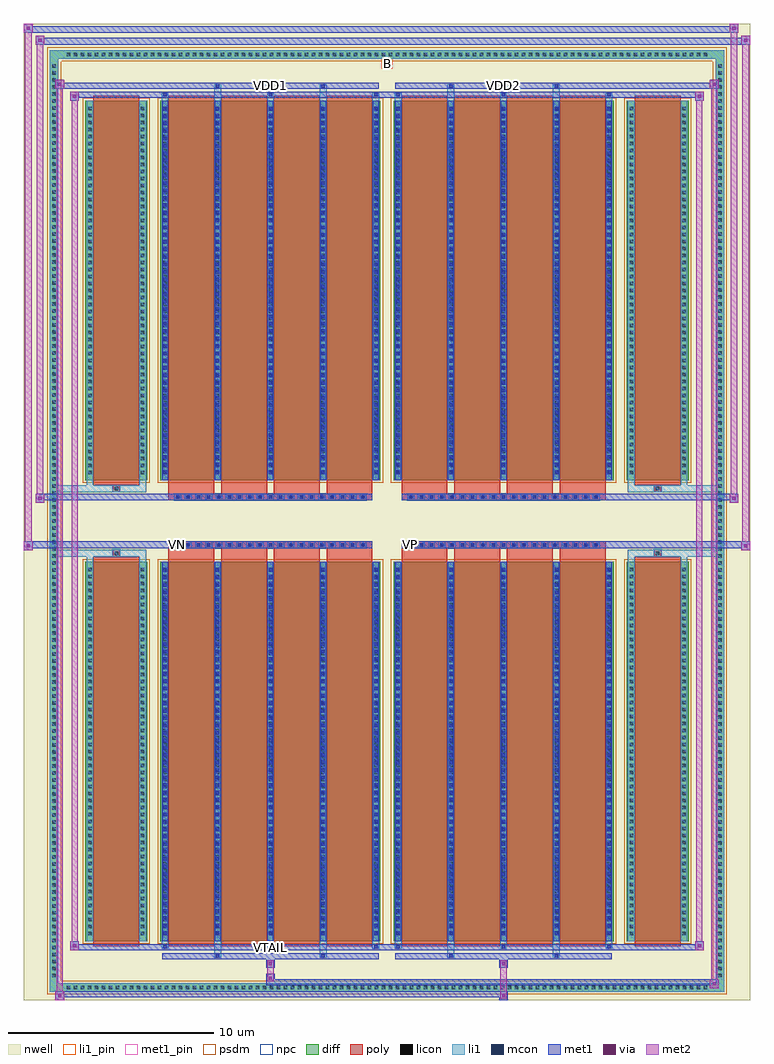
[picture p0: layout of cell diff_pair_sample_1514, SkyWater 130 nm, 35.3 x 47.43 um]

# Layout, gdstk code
import gdstk
lib = gdstk.Library(unit=1e-6, precision=5e-09)
def R(c, l, rs):  # rectangles x0, y0, x1, y1
    for r in rs: c.add(gdstk.rectangle(r[:2], r[2:], *l))
def A(c, l, x, y, w, h, nx, ny, dx, dy):  # array of equal rectangles
    R(c, l, [(x+i*dx, y+j*dy, x+i*dx+w, y+j*dy+h) for i in range(nx) for j in range(ny)])
def P(c, l, *ps):  # polygons
    for p in ps: c.add(gdstk.Polygon(p, *l))
nwell = (64, 20)
diff = (65, 20)
poly = (66, 20)
licon = (66, 44)
li1_pin = (67, 16)
li1 = (67, 20)
mcon = (67, 44)
met1_pin = (68, 16)
met1 = (68, 20)
via = (68, 44)
met2 = (69, 20)
psdm = (94, 20)
npc = (95, 20)

diff_pair_sample_1514 = lib.new_cell('diff_pair_sample_1514')
R(diff_pair_sample_1514, nwell, [(-17.65,-23.28,17.65,24.15), (-14.97,-21.47,-0.01,-0.795), (0.01,-21.47,14.97,-0.795), (-14.97,0.795,-0.01,21.47), (0.01,0.795,14.97,21.47)])
A(diff_pair_sample_1514, diff, -15.675, -22.88, 0.41, 0.41, 92, 2, 0.34, 45.35)
A(diff_pair_sample_1514, diff, -16.38, -22.305, 0.41, 0.41, 1, 131, 0, 0.34)
A(diff_pair_sample_1514, diff, 15.97, -22.305, 0.41, 0.41, 1, 131, 0, 0.34)
R(diff_pair_sample_1514, diff, [(-15.675,-22.88,15.675,-22.47), (-16.38,-22.305,-15.97,22.305), (15.97,-22.305,16.38,22.305), (-14.66,-20.425,-11.65,-1.985), (-11.01,-20.425,-0.32,-1.985), (0.32,-20.425,11.01,-1.985), (11.65,-20.425,14.66,-1.985), (-14.66,1.985,-11.65,20.425), (-11.01,1.985,-0.32,20.425), (0.32,1.985,11.01,20.425), (11.65,1.985,14.66,20.425), (-15.675,22.47,15.675,22.88)])
P(diff_pair_sample_1514, diff, [(16.38,22.88),(-16.38,22.88),(-16.38,-22.47),(-15.97,-22.47),(-15.97,22.47),(15.97,22.47),(15.97,-22.47),(-15.97,-22.47),(-16.38,-22.47),(-16.38,-22.88),(16.38,-22.88)])
A(diff_pair_sample_1514, poly, -10.62, -20.675, 2.23, 18.94, 4, 2, 2.56, 22.41)
A(diff_pair_sample_1514, poly, 0.71, -20.675, 2.23, 18.94, 4, 2, 2.56, 22.41)
A(diff_pair_sample_1514, poly, -10.62, -1.735, 2.23, 0.41, 4, 2, 2.56, 3.06)
A(diff_pair_sample_1514, poly, 0.71, -1.735, 2.23, 0.41, 4, 2, 2.56, 3.06)
A(diff_pair_sample_1514, poly, -10.33, -1.325, 0.33, 0.33, 19, 2, 0.5, 2.32)
A(diff_pair_sample_1514, poly, 1, -1.325, 0.33, 0.33, 19, 2, 0.5, 2.32)
R(diff_pair_sample_1514, poly, [(-14.27,-20.675,-12.04,-1.735), (12.04,-20.675,14.27,-1.735), (-13.32,-1.735,-12.99,-1.405), (-13.32,-1.735,-12.99,-1.405), (12.99,-1.735,13.32,-1.405), (12.99,-1.735,13.32,-1.405), (-10.62,-1.325,-0.71,-0.995), (0.71,-1.325,10.62,-0.995), (-10.62,0.995,-0.71,1.325), (0.71,0.995,10.62,1.325), (-13.32,1.405,-12.99,1.735), (-13.32,1.405,-12.99,1.735), (12.99,1.405,13.32,1.735), (12.99,1.405,13.32,1.735), (-14.27,1.735,-12.04,20.675), (12.04,1.735,14.27,20.675)])
A(diff_pair_sample_1514, licon, -15.555, -22.76, 0.17, 0.17, 92, 2, 0.34, 45.35)
A(diff_pair_sample_1514, licon, -16.26, -22.185, 0.17, 0.17, 1, 131, 0, 0.34)
A(diff_pair_sample_1514, licon, 16.09, -22.185, 0.17, 0.17, 1, 131, 0, 0.34)
A(diff_pair_sample_1514, licon, -14.52, -20.13, 0.17, 0.17, 1, 53, 0, 0.34)
A(diff_pair_sample_1514, licon, -11.96, -20.13, 0.17, 0.17, 1, 53, 0, 0.34)
A(diff_pair_sample_1514, licon, -10.87, -20.13, 0.17, 0.17, 5, 53, 2.56, 0.34)
A(diff_pair_sample_1514, licon, 0.46, -20.13, 0.17, 0.17, 5, 53, 2.56, 0.34)
A(diff_pair_sample_1514, licon, 11.79, -20.13, 0.17, 0.17, 1, 53, 0, 0.34)
A(diff_pair_sample_1514, licon, 14.35, -20.13, 0.17, 0.17, 1, 53, 0, 0.34)
A(diff_pair_sample_1514, licon, -10.25, -1.245, 0.17, 0.17, 19, 2, 0.5, 2.32)
A(diff_pair_sample_1514, licon, 1.08, -1.245, 0.17, 0.17, 19, 2, 0.5, 2.32)
A(diff_pair_sample_1514, licon, -14.52, 2.28, 0.17, 0.17, 1, 53, 0, 0.34)
A(diff_pair_sample_1514, licon, -11.96, 2.28, 0.17, 0.17, 1, 53, 0, 0.34)
A(diff_pair_sample_1514, licon, -10.87, 2.28, 0.17, 0.17, 5, 53, 2.56, 0.34)
A(diff_pair_sample_1514, licon, 0.46, 2.28, 0.17, 0.17, 5, 53, 2.56, 0.34)
A(diff_pair_sample_1514, licon, 11.79, 2.28, 0.17, 0.17, 1, 53, 0, 0.34)
A(diff_pair_sample_1514, licon, 14.35, 2.28, 0.17, 0.17, 1, 53, 0, 0.34)
R(diff_pair_sample_1514, licon, [(-13.24,-1.655,-13.07,-1.485), (13.07,-1.655,13.24,-1.485), (-13.24,1.485,-13.07,1.655), (13.07,1.485,13.24,1.655)])
R(diff_pair_sample_1514, li1_pin, [(-0.25,21.97,0.25,22.47)])
A(diff_pair_sample_1514, li1, -15.635, -22.84, 0.33, 0.33, 92, 2, 0.34, 45.35)
A(diff_pair_sample_1514, li1, -16.34, -22.265, 0.33, 0.33, 1, 131, 0, 0.34)
A(diff_pair_sample_1514, li1, 16.01, -22.265, 0.33, 0.33, 1, 131, 0, 0.34)
A(diff_pair_sample_1514, li1, -10.95, -20.8, 0.33, 0.375, 3, 2, 5.12, 41.225)
A(diff_pair_sample_1514, li1, -10.87, -20.8, 0.17, 0.17, 3, 2, 5.12, 41.43)
A(diff_pair_sample_1514, li1, 0.38, -20.8, 0.33, 0.375, 3, 2, 5.12, 41.225)
A(diff_pair_sample_1514, li1, 0.46, -20.8, 0.17, 0.17, 3, 2, 5.12, 41.43)
A(diff_pair_sample_1514, li1, -10.95, -20.425, 0.33, 18.44, 5, 2, 2.56, 22.41)
A(diff_pair_sample_1514, li1, 0.38, -20.425, 0.33, 18.44, 5, 2, 2.56, 22.41)
A(diff_pair_sample_1514, li1, -14.6, -20.21, 0.33, 0.33, 1, 53, 0, 0.34)
A(diff_pair_sample_1514, li1, -12.04, -20.21, 0.33, 0.33, 1, 53, 0, 0.34)
A(diff_pair_sample_1514, li1, -10.95, -20.21, 0.33, 0.33, 5, 53, 2.56, 0.34)
A(diff_pair_sample_1514, li1, 0.38, -20.21, 0.33, 0.33, 5, 53, 2.56, 0.34)
A(diff_pair_sample_1514, li1, 11.71, -20.21, 0.33, 0.33, 1, 53, 0, 0.34)
A(diff_pair_sample_1514, li1, 14.27, -20.21, 0.33, 0.33, 1, 53, 0, 0.34)
A(diff_pair_sample_1514, li1, -10.87, -20.11, 0.17, 0.17, 5, 50, 2.56, 0.36)
A(diff_pair_sample_1514, li1, -10.87, -20.11, 0.17, 17.81, 5, 2, 2.56, 22.41)
A(diff_pair_sample_1514, li1, 0.46, -20.11, 0.17, 0.17, 5, 50, 2.56, 0.36)
A(diff_pair_sample_1514, li1, 0.46, -20.11, 0.17, 17.81, 5, 2, 2.56, 22.41)
A(diff_pair_sample_1514, li1, -10.33, -1.325, 0.33, 0.33, 19, 2, 0.5, 2.32)
A(diff_pair_sample_1514, li1, 1, -1.325, 0.33, 0.33, 19, 2, 0.5, 2.32)
A(diff_pair_sample_1514, li1, -14.6, 2.2, 0.33, 0.33, 1, 53, 0, 0.34)
A(diff_pair_sample_1514, li1, -12.04, 2.2, 0.33, 0.33, 1, 53, 0, 0.34)
A(diff_pair_sample_1514, li1, -10.95, 2.2, 0.33, 0.33, 5, 53, 2.56, 0.34)
A(diff_pair_sample_1514, li1, 0.38, 2.2, 0.33, 0.33, 5, 53, 2.56, 0.34)
A(diff_pair_sample_1514, li1, 11.71, 2.2, 0.33, 0.33, 1, 53, 0, 0.34)
A(diff_pair_sample_1514, li1, 14.27, 2.2, 0.33, 0.33, 1, 53, 0, 0.34)
A(diff_pair_sample_1514, li1, -10.87, 2.3, 0.17, 0.17, 5, 50, 2.56, 0.36)
A(diff_pair_sample_1514, li1, 0.46, 2.3, 0.17, 0.17, 5, 50, 2.56, 0.36)
R(diff_pair_sample_1514, li1, [(-16.38,-22.88,-15.97,-22.47), (-16.38,-22.88,-15.97,-22.47), (-15.97,-22.88,15.97,-22.47), (15.97,-22.88,16.38,-22.47), (15.97,-22.88,16.38,-22.47), (-16.38,-22.47,-15.97,22.47), (15.97,-22.47,16.38,22.47), (-8.39,-21.23,-8.06,-20.425), (-8.31,-21.23,-8.14,-21.06), (-3.27,-21.23,-2.94,-20.425), (-3.19,-21.23,-3.02,-21.06), (2.94,-21.23,3.27,-20.425), (3.02,-21.23,3.19,-21.06), (8.06,-21.23,8.39,-20.425), (8.14,-21.23,8.31,-21.06), (-14.6,-20.425,-14.27,-1.985), (-12.04,-20.425,-11.71,-1.985), (11.71,-20.425,12.04,-1.985), (14.27,-20.425,14.6,-1.985), (-14.6,-1.985,-14.27,-1.405), (-12.04,-1.985,-11.71,-1.405), (11.71,-1.985,12.04,-1.405), (14.27,-1.985,14.6,-1.405), (-16.38,-1.735,-13.32,-1.405), (-14.6,-1.735,-13.32,-1.405), (-13.32,-1.735,-12.99,-1.405), (-12.99,-1.735,-11.71,-1.405), (11.71,-1.735,12.99,-1.405), (12.99,-1.735,13.32,-1.405), (12.99,-1.735,16.38,-1.405), (13.32,-1.735,14.6,-1.405), (-16.38,1.405,-13.32,1.735), (-14.6,1.405,-13.32,1.735), (-14.6,1.405,-14.27,1.985), (-13.32,1.405,-12.99,1.735), (-12.99,1.405,-11.71,1.735), (-12.04,1.405,-11.71,1.985), (11.71,1.405,12.99,1.735), (11.71,1.405,12.04,1.985), (12.99,1.405,13.32,1.735), (12.99,1.405,16.38,1.735), (13.32,1.405,14.6,1.735), (14.27,1.405,14.6,1.985), (-14.6,1.985,-14.27,20.425), (-12.04,1.985,-11.71,20.425), (11.71,1.985,12.04,20.425), (14.27,1.985,14.6,20.425), (-8.39,20.425,-8.06,21.23), (-3.27,20.425,-2.94,21.23), (2.94,20.425,3.27,21.23), (8.06,20.425,8.39,21.23), (-8.31,21.06,-8.14,21.23), (-3.19,21.06,-3.02,21.23), (3.02,21.06,3.19,21.23), (8.14,21.06,8.31,21.23), (-16.38,22.47,-15.97,22.88), (-16.38,22.47,-15.97,22.88), (-15.97,22.47,15.97,22.88), (15.97,22.47,16.38,22.88), (15.97,22.47,16.38,22.88)])
A(diff_pair_sample_1514, mcon, -10.87, -20.8, 0.17, 0.17, 3, 2, 5.12, 41.43)
A(diff_pair_sample_1514, mcon, 0.46, -20.8, 0.17, 0.17, 3, 2, 5.12, 41.43)
A(diff_pair_sample_1514, mcon, -10.87, -20.11, 0.17, 0.17, 5, 50, 2.56, 0.36)
A(diff_pair_sample_1514, mcon, 0.46, -20.11, 0.17, 0.17, 5, 50, 2.56, 0.36)
A(diff_pair_sample_1514, mcon, -10.25, -1.245, 0.17, 0.17, 19, 2, 0.5, 2.32)
A(diff_pair_sample_1514, mcon, 1.08, -1.245, 0.17, 0.17, 19, 2, 0.5, 2.32)
A(diff_pair_sample_1514, mcon, -10.87, 2.3, 0.17, 0.17, 5, 50, 2.56, 0.36)
A(diff_pair_sample_1514, mcon, 0.46, 2.3, 0.17, 0.17, 5, 50, 2.56, 0.36)
R(diff_pair_sample_1514, mcon, [(-8.31,-21.23,-8.14,-21.06), (-3.19,-21.23,-3.02,-21.06), (3.02,-21.23,3.19,-21.06), (8.14,-21.23,8.31,-21.06), (-8.31,21.06,-8.14,21.23), (-3.19,21.06,-3.02,21.23), (3.02,21.06,3.19,21.23), (8.14,21.06,8.31,21.23)])
R(diff_pair_sample_1514, met1_pin, [(-5.8,-20.84,-5.53,-20.57), (-10.3,-1.285,-10.03,-1.015), (1.03,-1.285,1.3,-1.015), (-5.8,21.02,-5.53,21.29), (5.53,21.02,5.8,21.29)])
A(diff_pair_sample_1514, met1, -10.93, -20.86, 0.29, 0.29, 3, 2, 5.12, 41.43)
A(diff_pair_sample_1514, met1, 0.4, -20.86, 0.29, 0.29, 3, 2, 5.12, 41.43)
A(diff_pair_sample_1514, met1, -10.93, -20.425, 0.29, 18.44, 5, 2, 2.56, 22.41)
A(diff_pair_sample_1514, met1, 0.4, -20.425, 0.29, 18.44, 5, 2, 2.56, 22.41)
A(diff_pair_sample_1514, met1, -10.93, -20.17, 0.29, 0.29, 5, 50, 2.56, 0.36)
A(diff_pair_sample_1514, met1, 0.4, -20.17, 0.29, 0.29, 5, 50, 2.56, 0.36)
A(diff_pair_sample_1514, met1, -10.31, -1.305, 0.29, 0.29, 19, 2, 0.5, 2.32)
A(diff_pair_sample_1514, met1, 1.02, -1.305, 0.29, 0.29, 19, 2, 0.5, 2.32)
A(diff_pair_sample_1514, met1, -10.93, 2.24, 0.29, 0.29, 5, 50, 2.56, 0.36)
A(diff_pair_sample_1514, met1, 0.4, 2.24, 0.29, 0.29, 5, 50, 2.56, 0.36)
R(diff_pair_sample_1514, met1, [(-16.11,-23.28,-15.68,-22.85), (5.45,-23.28,5.88,-22.85), (-16.11,-23.14,5.88,-22.85), (15.68,-22.71,16.11,-22.28), (-5.88,-22.57,16.11,-22.28), (-5.88,-22.43,-5.45,-22), (-5.88,-21.72,-5.45,-21.29), (5.45,-21.72,5.88,-21.29), (-10.93,-21.29,-0.4,-21), (-8.37,-21.29,-8.08,-21), (-3.25,-21.29,-2.96,-21), (0.4,-21.29,10.93,-21), (2.96,-21.29,3.25,-21), (8.08,-21.29,8.37,-21), (-15.4,-20.86,-14.97,-20.43), (-15.4,-20.86,-10.93,-20.57), (-10.93,-20.86,-0.4,-20.57), (-0.4,-20.86,0.4,-20.57), (0.4,-20.86,10.93,-20.57), (10.93,-20.86,15.4,-20.57), (14.97,-20.86,15.4,-20.43), (-17.65,-1.425,-17.22,-0.995), (17.22,-1.425,17.65,-0.995), (-17.65,-1.325,-0.71,-0.995), (-10.62,-1.325,-0.71,-0.995), (0.71,-1.325,10.62,-0.995), (0.71,-1.325,17.65,-0.995), (-17.08,0.895,-16.65,1.325), (16.65,0.895,17.08,1.325), (-17.08,0.995,-10.62,1.325), (-10.62,0.995,-0.71,1.325), (0.71,0.995,10.62,1.325), (10.62,0.995,17.08,1.325), (-15.4,20.43,-14.97,20.86), (14.97,20.43,15.4,20.86), (-15.4,20.57,-10.93,20.86), (-10.93,20.57,-0.4,20.86), (-0.4,20.57,0.4,20.86), (0.4,20.57,10.93,20.86), (10.93,20.57,15.4,20.86), (-16.11,21,-15.68,21.43), (-16.11,21,-10.93,21.29), (-10.93,21,-0.4,21.29), (-8.37,21,-8.08,21.29), (-3.25,21,-2.96,21.29), (0.4,21,10.93,21.29), (2.96,21,3.25,21.29), (8.08,21,8.37,21.29), (10.93,21,16.11,21.29), (15.68,21,16.11,21.43), (-17.08,23.15,-16.65,23.58), (-17.08,23.15,-14.97,23.48), (-14.97,23.15,14.97,23.48), (14.97,23.15,17.65,23.48), (17.22,23.15,17.65,23.58), (-17.65,23.72,-17.22,24.15), (-17.65,23.72,-14.97,24.05), (-14.97,23.72,14.97,24.05), (14.97,23.72,17.08,24.05), (16.65,23.72,17.08,24.15)])
R(diff_pair_sample_1514, via, [(-15.97,-23.14,-15.82,-22.99), (5.59,-23.14,5.74,-22.99), (15.82,-22.57,15.97,-22.42), (-5.74,-22.29,-5.59,-22.14), (-5.74,-21.58,-5.59,-21.43), (5.59,-21.58,5.74,-21.43), (-15.26,-20.72,-15.11,-20.57), (15.11,-20.72,15.26,-20.57), (-17.51,-1.285,-17.36,-1.135), (17.36,-1.285,17.51,-1.135), (-16.94,1.035,-16.79,1.185), (16.79,1.035,16.94,1.185), (-15.26,20.57,-15.11,20.72), (15.11,20.57,15.26,20.72), (-15.97,21.14,-15.82,21.29), (15.82,21.14,15.97,21.29), (-16.94,23.29,-16.79,23.44), (17.36,23.29,17.51,23.44), (-17.51,23.86,-17.36,24.01), (16.79,23.86,16.94,24.01)])
R(diff_pair_sample_1514, met2, [(-16.11,-23.28,-15.68,-22.85), (-16.04,-23.28,-15.75,21.43), (-15.75,-23.28,-15.68,-22.85), (-16.06,-23.23,-15.73,-22.9), (5.5,-23.23,5.83,-22.9), (5.5,-22.9,5.83,-21.67), (15.68,-22.71,16.11,-22.28), (15.75,-22.71,16.04,21.43), (16.04,-22.71,16.11,-22.28), (15.73,-22.66,16.06,-22.33), (-5.83,-22.38,-5.5,-22.05), (-5.83,-22.05,-5.5,-21.67), (-5.83,-21.67,-5.5,-21.34), (5.5,-21.67,5.83,-21.34), (-15.4,-20.86,-14.97,-20.43), (-15.33,-20.86,-15.04,20.86), (-15.04,-20.86,-14.97,-20.43), (14.97,-20.86,15.4,-20.43), (15.04,-20.86,15.33,20.86), (15.33,-20.86,15.4,-20.43), (-15.35,-20.81,-15.02,-20.48), (15.02,-20.81,15.35,-20.48), (-17.65,-1.425,-17.22,-0.995), (-17.6,-1.425,-17.27,24.15), (-17.27,-1.425,-17.22,-0.995), (17.22,-1.425,17.65,-0.995), (17.27,-1.425,17.6,23.58), (17.6,-1.425,17.65,-0.995), (-17.6,-1.375,-17.27,-1.045), (17.27,-1.375,17.6,-1.045), (-17.08,0.895,-16.65,1.325), (-17.03,0.895,-16.7,23.58), (-16.7,0.895,-16.65,1.325), (16.65,0.895,17.08,1.325), (16.7,0.895,17.03,24.15), (17.03,0.895,17.08,1.325), (-17.03,0.945,-16.7,1.275), (16.7,0.945,17.03,1.275), (-15.4,20.43,-14.97,20.86), (-15.04,20.43,-14.97,20.86), (14.97,20.43,15.4,20.86), (15.33,20.43,15.4,20.86), (-15.35,20.48,-15.02,20.81), (15.02,20.48,15.35,20.81), (-16.11,21,-15.68,21.43), (-15.75,21,-15.68,21.43), (15.68,21,16.11,21.43), (16.04,21,16.11,21.43), (-16.06,21.05,-15.73,21.38), (15.73,21.05,16.06,21.38), (-17.08,23.15,-16.65,23.58), (-16.7,23.15,-16.65,23.58), (17.22,23.15,17.65,23.58), (17.6,23.15,17.65,23.58), (-17.03,23.2,-16.7,23.53), (17.27,23.2,17.6,23.53), (-17.65,23.72,-17.22,24.15), (-17.27,23.72,-17.22,24.15), (16.65,23.72,17.08,24.15), (17.03,23.72,17.08,24.15), (-17.6,23.77,-17.27,24.1), (16.7,23.77,17.03,24.1)])
R(diff_pair_sample_1514, psdm, [(-14.79,-20.555,-11.52,-1.855), (-11.14,-20.555,-0.19,-1.855), (0.19,-20.555,11.14,-1.855), (11.52,-20.555,14.79,-1.855), (-14.79,1.855,-11.52,20.555), (-11.14,1.855,-0.19,20.555), (0.19,1.855,11.14,20.555), (11.52,1.855,14.79,20.555)])
P(diff_pair_sample_1514, psdm, [(16.51,23.01),(-16.51,23.01),(-16.51,-22.34),(-15.84,-22.34),(-15.84,22.34),(15.84,22.34),(15.84,-22.34),(-15.84,-22.34),(-16.51,-22.34),(-16.51,-23.01),(16.51,-23.01)])
A(diff_pair_sample_1514, npc, -10.35, -1.345, 0.37, 0.37, 19, 2, 0.5, 2.32)
A(diff_pair_sample_1514, npc, 0.98, -1.345, 0.37, 0.37, 19, 2, 0.5, 2.32)
R(diff_pair_sample_1514, npc, [(-13.34,-1.755,-12.97,-1.385), (12.97,-1.755,13.34,-1.385), (-10.35,-1.345,-9.48,-0.975), (-10.35,-1.345,-9.48,-0.975), (-9.85,-1.345,-8.98,-0.975), (-9.85,-1.345,-8.98,-0.975), (-9.35,-1.345,-8.48,-0.975), (-9.35,-1.345,-8.48,-0.975), (-8.85,-1.345,-7.98,-0.975), (-8.85,-1.345,-7.98,-0.975), (-8.35,-1.345,-7.48,-0.975), (-8.35,-1.345,-7.48,-0.975), (-7.85,-1.345,-6.98,-0.975), (-7.85,-1.345,-6.98,-0.975), (-7.35,-1.345,-6.48,-0.975), (-7.35,-1.345,-6.48,-0.975), (-6.85,-1.345,-5.98,-0.975), (-6.85,-1.345,-5.98,-0.975), (-6.35,-1.345,-5.48,-0.975), (-6.35,-1.345,-5.48,-0.975), (-5.85,-1.345,-4.98,-0.975), (-5.85,-1.345,-4.98,-0.975), (-5.35,-1.345,-4.48,-0.975), (-5.35,-1.345,-4.48,-0.975), (-4.85,-1.345,-3.98,-0.975), (-4.85,-1.345,-3.98,-0.975), (-4.35,-1.345,-3.48,-0.975), (-4.35,-1.345,-3.48,-0.975), (-3.85,-1.345,-2.98,-0.975), (-3.85,-1.345,-2.98,-0.975), (-3.35,-1.345,-2.48,-0.975), (-3.35,-1.345,-2.48,-0.975), (-2.85,-1.345,-1.98,-0.975), (-2.85,-1.345,-1.98,-0.975), (-2.35,-1.345,-1.48,-0.975), (-2.35,-1.345,-1.48,-0.975), (-1.85,-1.345,-0.98,-0.975), (-1.85,-1.345,-0.98,-0.975), (0.98,-1.345,1.85,-0.975), (0.98,-1.345,1.85,-0.975), (1.48,-1.345,2.35,-0.975), (1.48,-1.345,2.35,-0.975), (1.98,-1.345,2.85,-0.975), (1.98,-1.345,2.85,-0.975), (2.48,-1.345,3.35,-0.975), (2.48,-1.345,3.35,-0.975), (2.98,-1.345,3.85,-0.975), (2.98,-1.345,3.85,-0.975), (3.48,-1.345,4.35,-0.975), (3.48,-1.345,4.35,-0.975), (3.98,-1.345,4.85,-0.975), (3.98,-1.345,4.85,-0.975), (4.48,-1.345,5.35,-0.975), (4.48,-1.345,5.35,-0.975), (4.98,-1.345,5.85,-0.975), (4.98,-1.345,5.85,-0.975), (5.48,-1.345,6.35,-0.975), (5.48,-1.345,6.35,-0.975), (5.98,-1.345,6.85,-0.975), (5.98,-1.345,6.85,-0.975), (6.48,-1.345,7.35,-0.975), (6.48,-1.345,7.35,-0.975), (6.98,-1.345,7.85,-0.975), (6.98,-1.345,7.85,-0.975), (7.48,-1.345,8.35,-0.975), (7.48,-1.345,8.35,-0.975), (7.98,-1.345,8.85,-0.975), (7.98,-1.345,8.85,-0.975), (8.48,-1.345,9.35,-0.975), (8.48,-1.345,9.35,-0.975), (8.98,-1.345,9.85,-0.975), (8.98,-1.345,9.85,-0.975), (9.48,-1.345,10.35,-0.975), (9.48,-1.345,10.35,-0.975), (-10.35,0.975,-9.48,1.345), (-10.35,0.975,-9.48,1.345), (-9.85,0.975,-8.98,1.345), (-9.85,0.975,-8.98,1.345), (-9.35,0.975,-8.48,1.345), (-9.35,0.975,-8.48,1.345), (-8.85,0.975,-7.98,1.345), (-8.85,0.975,-7.98,1.345), (-8.35,0.975,-7.48,1.345), (-8.35,0.975,-7.48,1.345), (-7.85,0.975,-6.98,1.345), (-7.85,0.975,-6.98,1.345), (-7.35,0.975,-6.48,1.345), (-7.35,0.975,-6.48,1.345), (-6.85,0.975,-5.98,1.345), (-6.85,0.975,-5.98,1.345), (-6.35,0.975,-5.48,1.345), (-6.35,0.975,-5.48,1.345), (-5.85,0.975,-4.98,1.345), (-5.85,0.975,-4.98,1.345), (-5.35,0.975,-4.48,1.345), (-5.35,0.975,-4.48,1.345), (-4.85,0.975,-3.98,1.345), (-4.85,0.975,-3.98,1.345), (-4.35,0.975,-3.48,1.345), (-4.35,0.975,-3.48,1.345), (-3.85,0.975,-2.98,1.345), (-3.85,0.975,-2.98,1.345), (-3.35,0.975,-2.48,1.345), (-3.35,0.975,-2.48,1.345), (-2.85,0.975,-1.98,1.345), (-2.85,0.975,-1.98,1.345), (-2.35,0.975,-1.48,1.345), (-2.35,0.975,-1.48,1.345), (-1.85,0.975,-0.98,1.345), (-1.85,0.975,-0.98,1.345), (0.98,0.975,1.85,1.345), (0.98,0.975,1.85,1.345), (1.48,0.975,2.35,1.345), (1.48,0.975,2.35,1.345), (1.98,0.975,2.85,1.345), (1.98,0.975,2.85,1.345), (2.48,0.975,3.35,1.345), (2.48,0.975,3.35,1.345), (2.98,0.975,3.85,1.345), (2.98,0.975,3.85,1.345), (3.48,0.975,4.35,1.345), (3.48,0.975,4.35,1.345), (3.98,0.975,4.85,1.345), (3.98,0.975,4.85,1.345), (4.48,0.975,5.35,1.345), (4.48,0.975,5.35,1.345), (4.98,0.975,5.85,1.345), (4.98,0.975,5.85,1.345), (5.48,0.975,6.35,1.345), (5.48,0.975,6.35,1.345), (5.98,0.975,6.85,1.345), (5.98,0.975,6.85,1.345), (6.48,0.975,7.35,1.345), (6.48,0.975,7.35,1.345), (6.98,0.975,7.85,1.345), (6.98,0.975,7.85,1.345), (7.48,0.975,8.35,1.345), (7.48,0.975,8.35,1.345), (7.98,0.975,8.85,1.345), (7.98,0.975,8.85,1.345), (8.48,0.975,9.35,1.345), (8.48,0.975,9.35,1.345), (8.98,0.975,9.85,1.345), (8.98,0.975,9.85,1.345), (9.48,0.975,10.35,1.345), (9.48,0.975,10.35,1.345), (-13.34,1.385,-12.97,1.755), (12.97,1.385,13.34,1.755)])
diff_pair_sample_1514.add(gdstk.Label('VTAIL', (-5.665,-20.705), layer=68, texttype=5))
diff_pair_sample_1514.add(gdstk.Label('VN', (-10.165,-1.15), layer=68, texttype=5))
diff_pair_sample_1514.add(gdstk.Label('VP', (1.165,-1.15), layer=68, texttype=5))
diff_pair_sample_1514.add(gdstk.Label('B', (0,22.22), layer=67, texttype=5))
diff_pair_sample_1514.add(gdstk.Label('VDD2', (5.665,21.155), layer=68, texttype=5))
diff_pair_sample_1514.add(gdstk.Label('VDD1', (-5.665,21.155), layer=68, texttype=5))

lib.write_gds('diff_pair_sample_1514.gds')
